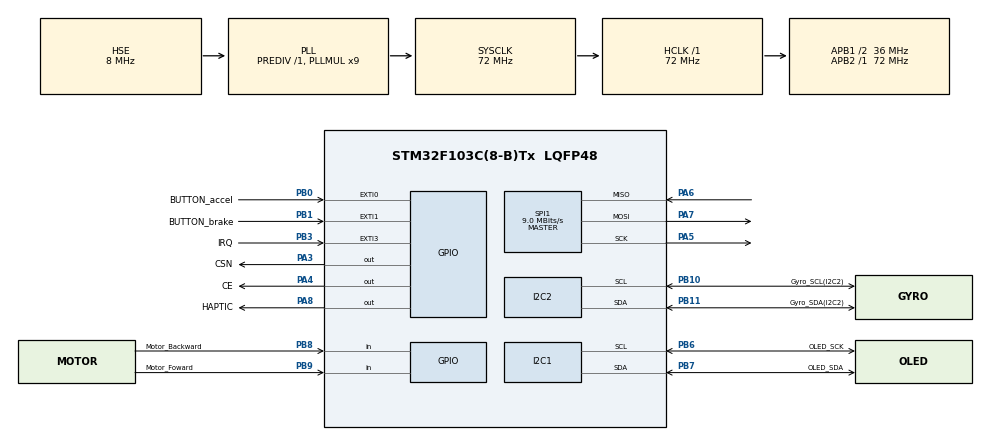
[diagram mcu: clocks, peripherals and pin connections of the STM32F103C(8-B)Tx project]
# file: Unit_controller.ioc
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FREERTOS.BinarySemaphores01=ackSem,Dynamic,NULL,Depleted
FREERTOS.Queues01=sensorQueue,1,float,0,Dynamic,NULL,NULL
FREERTOS.Tasks01=commTask,40,256,StartcommTask,Default,NULL,Dynamic,NULL,NULL;sensorTask,40,128,StartsensorTask,Default,NULL,Dynamic,NULL,NULL;ackHandlerTask,24,128,StartackHandlerTask,Default,NULL,Dynamic,NULL,NULL;DisplayTask,24,256,StartDisplayTask,Default,NULL,Dynamic,NULL,NULL
FREERTOS.configTOTAL_HEAP_SIZE=4096
FREERTOS.configUSE_NEWLIB_REENTRANT=1
I2C1.I2C_Mode=I2C_Fast
I2C2.I2C_Mode=I2C_Fast
Mcu.Family=STM32F1
Mcu.Name=STM32F103C(8-B)Tx
Mcu.Package=LQFP48
NVIC.EXTI0_IRQn=true\:5\:0\:false\:false\:true\:true\:true\:true\:true
NVIC.EXTI1_IRQn=true\:5\:0\:false\:false\:true\:true\:true\:true\:true
NVIC.EXTI3_IRQn=true\:5\:0\:false\:false\:true\:true\:true\:true\:true
NVIC.PriorityGroup=NVIC_PRIORITYGROUP_4
NVIC.SPI1_IRQn=true\:5\:0\:false\:false\:true\:true\:true\:true\:true
NVIC.TIM2_IRQn=true\:5\:0\:false\:false\:true\:true\:true\:true\:true
NVIC.TIM4_IRQn=true\:15\:0\:false\:false\:true\:false\:false\:true\:true
NVIC.TimeBase=TIM4_IRQn
NVIC.TimeBaseIP=TIM4
PA13.Mode=Serial_Wire
PA13.Signal=SYS_JTMS-SWDIO
PA14.Mode=Serial_Wire
PA14.Signal=SYS_JTCK-SWCLK
PA3.GPIO_Label=CSN
PA3.GPIO_Speed=GPIO_SPEED_FREQ_HIGH
PA3.Signal=GPIO_Output
PA4.GPIO_Label=CE
PA4.GPIO_Speed=GPIO_SPEED_FREQ_HIGH
PA4.Signal=GPIO_Output
PA5.Mode=Full_Duplex_Master
PA5.Signal=SPI1_SCK
PA6.Mode=Full_Duplex_Master
PA6.Signal=SPI1_MISO
PA7.Mode=Full_Duplex_Master
PA7.Signal=SPI1_MOSI
PA8.GPIO_Label=HAPTIC
PA8.Signal=GPIO_Output
PB0.GPIO_Label=BUTTON_accel
PB0.GPIO_ModeDefaultEXTI=GPIO_MODE_IT_RISING_FALLING
PB0.GPIO_PuPd=GPIO_PULLUP
PB0.Signal=GPXTI0
PB1.GPIO_Label=BUTTON_brake
PB1.GPIO_ModeDefaultEXTI=GPIO_MODE_IT_RISING_FALLING
PB1.GPIO_PuPd=GPIO_PULLUP
PB1.Signal=GPXTI1
PB10.GPIO_Label=Gyro_SCL(I2C2)
PB10.Mode=I2C
PB10.Signal=I2C2_SCL
PB11.GPIO_Label=Gyro_SDA(I2C2)
PB11.Mode=I2C
PB11.Signal=I2C2_SDA
PB3.GPIO_Label=IRQ
PB3.GPIO_ModeDefaultEXTI=GPIO_MODE_IT_FALLING
PB3.GPIO_PuPd=GPIO_PULLUP
PB3.Signal=GPXTI3
PB6.GPIO_Label=OLED_SCK
PB6.Mode=I2C
PB6.Signal=I2C1_SCL
PB7.GPIO_Label=OLED_SDA
PB7.Mode=I2C
PB7.Signal=I2C1_SDA
PB8.GPIO_Label=Motor_Backward
PB8.GPIO_PuPd=GPIO_PULLUP
PB8.Signal=GPIO_Input
PB9.GPIO_Label=Motor_Foward
PB9.GPIO_PuPd=GPIO_PULLUP
PB9.Signal=GPIO_Input
PD0-OSC_IN.Mode=HSE-External-Oscillator
PD0-OSC_IN.Signal=RCC_OSC_IN
PD1-OSC_OUT.Mode=HSE-External-Oscillator
PD1-OSC_OUT.Signal=RCC_OSC_OUT
ProjectManager.HeapSize=0x200
ProjectManager.StackSize=0x400
ProjectManager.TargetToolchain=STM32CubeIDE
RCC.AHBFreq_Value=72000000
RCC.APB1CLKDivider=RCC_HCLK_DIV2
RCC.APB1Freq_Value=36000000
RCC.APB1TimFreq_Value=72000000
RCC.APB2Freq_Value=72000000
RCC.APB2TimFreq_Value=72000000
RCC.HCLKFreq_Value=72000000
RCC.PLLMUL=RCC_PLL_MUL9
RCC.PLLSourceVirtual=RCC_PLLSOURCE_HSE
RCC.SYSCLKFreq_VALUE=72000000
RCC.SYSCLKSource=RCC_SYSCLKSOURCE_PLLCLK
RCC.USBFreq_Value=72000000
SPI1.BaudRatePrescaler=SPI_BAUDRATEPRESCALER_8
SPI1.CalculateBaudRate=9.0 MBits/s
SPI1.Direction=SPI_DIRECTION_2LINES
SPI1.Mode=SPI_MODE_MASTER
SPI1.VirtualType=VM_MASTER
TIM2.Period=19999
TIM2.Prescaler=71
VP_FREERTOS_VS_CMSIS_V2.Mode=CMSIS_V2
VP_SYS_VS_tim4.Mode=TIM4
VP_TIM2_VS_ClockSourceINT.Mode=Internal
board=custom

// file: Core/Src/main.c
/* USER CODE BEGIN Header */
/**
  ******************************************************************************
  * @file           : main.c
  * @brief          : Main program body
  ******************************************************************************
  * @attention
  *
  * Copyright (c) 2025 STMicroelectronics.
  * All rights reserved.
  *
  * This software is licensed under terms that can be found in the LICENSE file
  * in the root directory of this software component.
  * If no LICENSE file comes with this software, it is provided AS-IS.
  *
  ******************************************************************************
  */
/* USER CODE END Header */
#include "main.h"
#include "cmsis_os.h"
#include "i2c.h"
#include "spi.h"
#include "tim.h"
#include "gpio.h"

/* USER CODE BEGIN Includes */
#include <string.h>
#include "mpu6050.h"
#include "input_handler.h"
#include "comm_handler.h"
#include "ssd1306.h"
/* USER CODE END Includes */

void SystemClock_Config(void);
void MX_FREERTOS_Init(void);

int main(void)
{

  /* MCU Configuration--------------------------------------------------------*/

  /* Reset of all peripherals, Initializes the Flash interface and the Systick. */
  HAL_Init();

  /* Configure the system clock */
  SystemClock_Config();

  /* Initialize all configured peripherals */
  MX_GPIO_Init();
  MX_I2C2_Init();
  MX_TIM2_Init();
  MX_SPI1_Init();
  MX_I2C1_Init();
  /* USER CODE BEGIN 2 */
  InputHandler_Init();
  CommHandler_Init();

  if (MPU6050_Init(&hi2c2) != 0) {
      Error_Handler();
  }

  if (SSD1306_Init() != 1) {
	  Error_Handler();
  }

  HAL_TIM_Base_Start_IT(&htim2);

  /* USER CODE END 2 */

  /* Init scheduler */
  osKernelInitialize();

  /* Call init function for freertos objects (in cmsis_os2.c) */
  MX_FREERTOS_Init();

  /* Start scheduler */
  osKernelStart();

  /* We should never get here as control is now taken by the scheduler */

  /* Infinite loop */
    while (1)
    {

 }
}

void SystemClock_Config(void)
{
  RCC_OscInitTypeDef RCC_OscInitStruct = {0};
  RCC_ClkInitTypeDef RCC_ClkInitStruct = {0};

  /** Initializes the RCC Oscillators according to the specified parameters
  * in the RCC_OscInitTypeDef structure.
  */
  RCC_OscInitStruct.OscillatorType = RCC_OSCILLATORTYPE_HSE;
  RCC_OscInitStruct.HSEState = RCC_HSE_ON;
  RCC_OscInitStruct.HSEPredivValue = RCC_HSE_PREDIV_DIV1;
  RCC_OscInitStruct.HSIState = RCC_HSI_ON;
  RCC_OscInitStruct.PLL.PLLState = RCC_PLL_ON;
  RCC_OscInitStruct.PLL.PLLSource = RCC_PLLSOURCE_HSE;
  RCC_OscInitStruct.PLL.PLLMUL = RCC_PLL_MUL9;
  if (HAL_RCC_OscConfig(&RCC_OscInitStruct) != HAL_OK)
  {
    Error_Handler();
  }

  /** Initializes the CPU, AHB and APB buses clocks
  */
  RCC_ClkInitStruct.ClockType = RCC_CLOCKTYPE_HCLK|RCC_CLOCKTYPE_SYSCLK
                              |RCC_CLOCKTYPE_PCLK1|RCC_CLOCKTYPE_PCLK2;
  RCC_ClkInitStruct.SYSCLKSource = RCC_SYSCLKSOURCE_PLLCLK;
  RCC_ClkInitStruct.AHBCLKDivider = RCC_SYSCLK_DIV1;
  RCC_ClkInitStruct.APB1CLKDivider = RCC_HCLK_DIV2;
  RCC_ClkInitStruct.APB2CLKDivider = RCC_HCLK_DIV1;

  if (HAL_RCC_ClockConfig(&RCC_ClkInitStruct, FLASH_LATENCY_2) != HAL_OK)
  {
    Error_Handler();
  }
}

/* USER CODE BEGIN 4 */

// --- 콜백 함수들은 각 핸들러에게 작업을 위임 ---
void HAL_GPIO_EXTI_Callback(uint16_t GPIO_Pin)
{
    // USER CODE BEGIN Callback 0
    extern osSemaphoreId_t ackSemHandle; // CubeMX가 생성한 세마포어 핸들
    // USER CODE END Callback 0

    if (GPIO_Pin == GPIO_PIN_3)
    {
        osSemaphoreRelease(ackSemHandle); // 세마포어를 해제하여 ackHandlerTask를 깨움
        return;
    }
    InputHandler_GpioCallback(GPIO_Pin);
}
/* USER CODE END 4 */

void HAL_TIM_PeriodElapsedCallback(TIM_HandleTypeDef *htim)
{
  if (htim->Instance == TIM4)
  {
    HAL_IncTick();
  }
  /* USER CODE BEGIN Callback 1 */
  if (htim->Instance == TIM2)
      InputHandler_TimerCallback();

  /* USER CODE END Callback 1 */
}

void Error_Handler(void)
{
  __disable_irq();
  while (1)
  {
  }
}

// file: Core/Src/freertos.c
/* USER CODE BEGIN Header */
/**
  ******************************************************************************
  * File Name          : freertos.c
  * Description        : Code for freertos applications
  ******************************************************************************
  * @attention
  *
  * Copyright (c) 2025 STMicroelectronics.
  * All rights reserved.
  *
  * This software is licensed under terms that can be found in the LICENSE file
  * in the root directory of this software component.
  * If no LICENSE file comes with this software, it is provided AS-IS.
  *
  ******************************************************************************
  */
/* USER CODE END Header */

#include "FreeRTOS.h"
#include "task.h"
#include "main.h"
#include "cmsis_os.h"

/* USER CODE BEGIN Includes */
#include <string.h>
#include <stdio.h>
#include "comm_handler.h"
#include "input_handler.h"
#include "ssd1306.h"
#include "fonts.h"
#include "app_logic.h" // Use the new application logic header

/* USER CODE END Includes */

/* USER CODE BEGIN Variables */

// Mutex for display data is defined here as it's an RTOS object
   osMutexId_t g_displayDataMutexHandle;
   const osMutexAttr_t g_displayDataMutex_attributes = {
     .name = "displayDataMutex"
   };
/* USER CODE END Variables */
/* Definitions for commTask */
osThreadId_t commTaskHandle;
const osThreadAttr_t commTask_attributes = {
  .name = "commTask",
  .stack_size = 256 * 4,
  .priority = (osPriority_t) osPriorityHigh,
};
/* Definitions for sensorTask */
osThreadId_t sensorTaskHandle;
const osThreadAttr_t sensorTask_attributes = {
  .name = "sensorTask",
  .stack_size = 128 * 4,
  .priority = (osPriority_t) osPriorityHigh,
};
/* Definitions for ackHandlerTask */
osThreadId_t ackHandlerTaskHandle;
const osThreadAttr_t ackHandlerTask_attributes = {
  .name = "ackHandlerTask",
  .stack_size = 128 * 4,
  .priority = (osPriority_t) osPriorityNormal,
};
/* Definitions for DisplayTask */
osThreadId_t DisplayTaskHandle;
const osThreadAttr_t DisplayTask_attributes = {
  .name = "DisplayTask",
  .stack_size = 256 * 4,
  .priority = (osPriority_t) osPriorityNormal,
};
/* Definitions for sensorQueue */
osMessageQueueId_t sensorQueueHandle;
const osMessageQueueAttr_t sensorQueue_attributes = {
  .name = "sensorQueue"
};
/* Definitions for ackSem */
osSemaphoreId_t ackSemHandle;
const osSemaphoreAttr_t ackSem_attributes = {
  .name = "ackSem"
};

void StartcommTask(void *argument);
void StartsensorTask(void *argument);
void StartackHandlerTask(void *argument);
void StartDisplayTask(void *argument);

void MX_FREERTOS_Init(void); /* (MISRA C 2004 rule 8.1) */

void MX_FREERTOS_Init(void) {

  /* USER CODE BEGIN RTOS_MUTEX */
  /* add mutexes, ... */
  g_displayDataMutexHandle = osMutexNew(&g_displayDataMutex_attributes);
  /* USER CODE END RTOS_MUTEX */

  /* Create the semaphores(s) */
  /* creation of ackSem */
  ackSemHandle = osSemaphoreNew(1, 0, &ackSem_attributes);

  /* Create the queue(s) */
  /* creation of sensorQueue */
  sensorQueueHandle = osMessageQueueNew (1, sizeof(float), &sensorQueue_attributes);

  /* Create the thread(s) */
  /* creation of commTask */
  commTaskHandle = osThreadNew(StartcommTask, NULL, &commTask_attributes);

  /* creation of sensorTask */
  sensorTaskHandle = osThreadNew(StartsensorTask, NULL, &sensorTask_attributes);

  /* creation of ackHandlerTask */
  ackHandlerTaskHandle = osThreadNew(StartackHandlerTask, NULL, &ackHandlerTask_attributes);

  /* creation of DisplayTask */
  DisplayTaskHandle = osThreadNew(StartDisplayTask, NULL, &DisplayTask_attributes);

}

/* USER CODE BEGIN Header_StartsensorTask */
/**
* @brief 주기적으로 롤(Roll) 각도 센서 값을 측정하여 다른 태스크로 전달하는 태스크
* @param argument: None
* @retval None
* @note 이 태스크는 다음과 같은 순서로 동작한다:
* 1. `App_GetRollAngle` 함수를 호출하여 현재 차량의 롤 각도를 얻음.
* 2. `osMessageQueuePut`을 사용하여 측정된 롤 각도 값을 `sensorQueueHandle` 메시지 큐에 전송한다.
* 이를 통해 commTask가 이 값을 사용할 수 있다.
* 3. `osDelay`를 사용하여 `SENSOR_TASK_PERIOD_MS` (5ms) 만큼 대기하며, 일정한 주기로 센서 값을 측정하도록 보장한다.
*/
/* USER CODE END Header_StartsensorTask */
void StartsensorTask(void *argument)
{
  /* USER CODE BEGIN StartsensorTask */
  /* Infinite loop */
  for(;;)
  {
    float roll = App_GetRollAngle(); // IMU 센서로부터 roll값 갱신

    osMessageQueuePut(sensorQueueHandle, &roll, 0U, 0U); // 큐를 통해 송신 태스크(commTask)로 전송

    osDelay(SENSOR_TASK_PERIOD_MS); // 5ms 주기 대기
  }
  /* USER CODE END StartsensorTask */
}

/* USER CODE BEGIN Header_StartcommTask */
/**
  * @brief  센서 태스크로부터 롤(Roll) 각도 값을 받아 통신 패킷을 생성하고 전송하는 태스크다.
  * @param  argument: None
  * @retval None
  * @note   이 태스크는 다음과 같은 순서로 동작한다:
  * 1. `sensorQueueHandle` 메시지 큐에 새로운 데이터가 들어올 때까지 무한 대기한다.
  * 2. 큐에서 롤 각도 값을 성공적으로 수신하면, 이 값을 이용해 전송용 패킷을 만든다.
  * 3. 완성된 패킷을 통신 핸들러를 통해 외부로 전송한다.
  * 4. 위 과정을 무한 반복한다.
  */
/* USER CODE END Header_StartcommTask */
void StartcommTask(void *argument)
{
  /* USER CODE BEGIN StartcommTask */
  uint8_t tx_packet[PAYLOAD_SIZE] = {0};
  float roll = 0.0f;

  /* Infinite loop */
  for(;;)
  {
     osMessageQueueGet(sensorQueueHandle, &roll, NULL, osWaitForever); // 블로킹 상태로 대기 및 roll 값 수신

     App_BuildPacket(tx_packet, roll); // 데이터 패키징

     CommHandler_Transmit(tx_packet, PAYLOAD_SIZE); // 차량부로 패킷 전송
  }
  /* USER CODE END StartcommTask */
}

/* USER CODE BEGIN Header_StartackHandlerTask */
/**
* @brief  차량의 통신 모듈로부터 ACK(응답) 수신 인터럽트를 처리하는 태스크다.
* @param  argument: 사용되지 않는다.
* @retval None
* @note   이 태스크는 통신 인터럽트가 발생할 때마다 동작하며, 다음과 같은 순서로 실행된다:
* 1. `ackSemHandle` 세마포어를 통해 통신 모듈의 전송 완료(TX DR) 또는 최대 재전송 실패(MAX_RT) 인터럽트가 발생하기를 기다린다.
* 2. 인터럽트가 발생하면 `CommHandler_CheckStatus`를 호출하여 통신 상태(성공/실패)를 확인하고, 수신된 ACK 페이로드를 `ack_packet` 버퍼에 저장한다.
* 3. 통신이 성공했다면(COMM_TX_SUCCESS), `App_HandleAckPayload`를 호출하여 ACK 페이로드 데이터를 처리하고, 뮤텍스를 사용하여 공유 변수 `g_displayData.comm_ok`를 1(성공)로 업데이트한다.
* 4. 통신이 실패했다면(COMM_TX_FAIL), 뮤텍스를 사용하여 `g_displayData.comm_ok`를 0(실패)으로 업데이트한다.
*/
/* USER CODE END Header_StartackHandlerTask */
void StartackHandlerTask(void *argument)
{
  /* USER CODE BEGIN StartackHandlerTask */
  uint8_t ack_packet[ACK_PAYLOAD_SIZE] = {0}; // ACK 응답 신호용 버퍼

  /* Infinite loop */
  for(;;)
  {
      // ACK 관련 인터럽트(TX DR 또는 MAX_RT)가 발생할 때까지 세마포어를 기다린다.
      osSemaphoreAcquire(ackSemHandle, osWaitForever); // ACK 응답 신호 인터럽트 발생 대기

      CommStatus_t status = CommHandler_CheckStatus(ack_packet, ACK_PAYLOAD_SIZE); // 통신 상태 확인 및 응답 패킷 복제

      if (status == COMM_TX_SUCCESS)
      {
          App_HandleAckPayload(ack_packet); // 진동 동작 판단

          if (osMutexAcquire(g_displayDataMutexHandle, 10) == osOK) // 뮤택스를 통해 공유변수 접근
          {
              g_displayData.comm_ok = 1; // 1: 통신 정상
              osMutexRelease(g_displayDataMutexHandle);
          }
      }

      else if (status == COMM_TX_FAIL)
      {
          if (osMutexAcquire(g_displayDataMutexHandle, 10) == osOK)
          {
              g_displayData.comm_ok = 0; // 0: 통신 실패
              osMutexRelease(g_displayDataMutexHandle);
          }
      }
  }
  /* USER CODE END StartackHandlerTask */
}

/* USER CODE BEGIN Header_StartDisplayTask */
/**
* @brief  공유 데이터를 기반으로 OLED 디스플레이에 정보를 주기적으로 표시하는 태스크다.
* @param  argument: None
* @retval None
* @note   이 태스크는 다음과 같은 순서로 동작한다:
* 1. 뮤텍스를 사용하여 다른 태스크와 공유하는 `g_displayData`의 데이터를 안전하게 로컬 변수로 복사한다.
* 2. 통신 상태(`comm_ok`)를 확인한다.
* 3. 통신이 정상이면, RPM 값을 백분율로 변환하고 주행 방향(D/R)을 문자열로 만들어 화면에 표시한다.
* 4. 통신이 두절된 상태이면, 화면에 "NO SIGNAL" 메시지를 표시한다.
* 5. `DISPLAY_TASK_PERIOD_MS` (100ms) 주기로 위 과정을 반복하여 디스플레이를 갱신한다.
*/
/* USER CODE END Header_StartDisplayTask */
void StartDisplayTask(void *argument)
{
  /* USER CODE BEGIN StartDisplayTask */
   DisplayData_t localDisplayData = {0};
   char speed_str[16];
   char dir_str[10];
   int speed_percentage;

   if (osMutexAcquire(g_displayDataMutexHandle, osWaitForever) == osOK)
   {
       g_displayData.comm_ok = 1; // 초기 설정값 : 통신 성공
       osMutexRelease(g_displayDataMutexHandle);
   }

   /* Infinite loop */
   for(;;)
   {
     if (osMutexAcquire(g_displayDataMutexHandle, osWaitForever) == osOK) // 뮤택스를 통해 공유변수 접근
     {
         localDisplayData = g_displayData;
         osMutexRelease(g_displayDataMutexHandle);
     }

     SSD1306_Fill(SSD1306_COLOR_BLACK);

     if (localDisplayData.comm_ok) // 통신 정상
     {

         speed_percentage = (int)(((float)localDisplayData.rpm / MAX_RPM) * 100.0f);  // RPM -> 백분율로 변환
         if (speed_percentage > 100) { speed_percentage = 100; }

         sprintf(speed_str, "%d %%", speed_percentage); // 속도 출력

         switch(localDisplayData.direction)
         {
             case 0: strcpy(dir_str, "   R"); break; // 후진
             case 1: strcpy(dir_str, "   D"); break; // 전진
             default: strcpy(dir_str, ""); break;
         }

         if (localDisplayData.direction == 1) { SSD1306_GotoXY(26, 0); }
         else if (localDisplayData.direction == 0) { SSD1306_GotoXY(20, 0); }
         SSD1306_Puts(dir_str, &Font_11x18, 1); // 기어 상태 출력 (D or R)

         SSD1306_GotoXY(39, 20);
         SSD1306_Puts("SPEED", &Font_11x18, 1);

         uint8_t len = strlen(speed_str);
         uint8_t x_pos = (128 - (len * 7)) / 2;
         SSD1306_GotoXY(x_pos, 40);
         SSD1306_Puts(speed_str, &Font_11x18, 1);
     }
     else
     {
         SSD1306_GotoXY(5, 25);
         SSD1306_Puts("NO SIGNAL", &Font_11x18, 1); // 통신 실패
     }
     SSD1306_UpdateScreen();
     osDelay(DISPLAY_TASK_PERIOD_MS); // 100ms 주기
   }
  /* USER CODE END StartDisplayTask */
}
